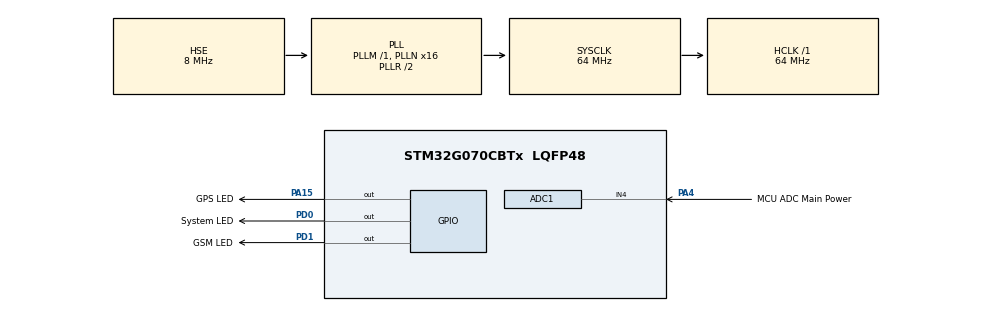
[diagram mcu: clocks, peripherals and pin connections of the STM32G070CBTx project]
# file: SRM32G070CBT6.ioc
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ADC1.Channel-0\#ChannelRegularConversion=ADC_CHANNEL_4
ADC1.ContinuousConvMode=DISABLE
ADC1.NbrOfConversionFlag=1
ADC1.Rank-0\#ChannelRegularConversion=1
ADC1.SamplingTime-0\#ChannelRegularConversion=ADC_SAMPLINGTIME_COMMON_1
ADC1.SamplingTimeCommon1=ADC_SAMPLETIME_3CYCLES_5
ADC1.SamplingTimeCommon2=ADC_SAMPLETIME_3CYCLES_5
ADC1.SelectedChannel=ADC_CHANNEL_4
ADC1.master=1
Mcu.Family=STM32G0
Mcu.Name=STM32G070CBTx
Mcu.Package=LQFP48
PA13.Mode=Serial_Wire
PA13.Signal=SYS_SWDIO
PA14-BOOT0.Mode=Serial_Wire
PA14-BOOT0.Signal=SYS_SWCLK
PA15.GPIO_Label=GPS LED
PA15.Signal=GPIO_Output
PA4.GPIO_Label=MCU ADC Main Power
PA4.Mode=IN4
PA4.Signal=ADC1_IN4
PD0.GPIO_Label=System LED
PD0.Signal=GPIO_Output
PD1.GPIO_Label=GSM LED
PD1.Signal=GPIO_Output
PF0-OSC_IN\ (PF0).Mode=HSE-External-Oscillator
PF0-OSC_IN\ (PF0).Signal=RCC_OSC_IN
PF1-OSC_OUT\ (PF1).Mode=HSE-External-Oscillator
PF1-OSC_OUT\ (PF1).Signal=RCC_OSC_OUT
ProjectManager.HeapSize=0x200
ProjectManager.StackSize=0x400
ProjectManager.TargetToolchain=MDK-ARM V5.32
RCC.ADCFreq_Value=64000000
RCC.AHBFreq_Value=64000000
RCC.CortexFreq_Value=64000000
RCC.EXTERNAL_CLOCK_VALUE=48000
RCC.HCLKFreq_Value=64000000
RCC.HSI_VALUE=16000000
RCC.LSE_VALUE=32768
RCC.PLLN=16
RCC.PLLSourceVirtual=RCC_PLLSOURCE_HSE
RCC.SYSCLKFreq_VALUE=64000000
RCC.SYSCLKSource=RCC_SYSCLKSOURCE_PLLCLK
RCC.VCOOutputFreq_Value=128000000
board=custom

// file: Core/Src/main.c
/* USER CODE BEGIN Header */
/**
  ******************************************************************************
  * @file           : main.c
  * @brief          : Main program body
  ******************************************************************************
  * @attention
  *
  * Copyright (c) 2026 STMicroelectronics.
  * All rights reserved.
  *
  * This software is licensed under terms that can be found in the LICENSE file
  * in the root directory of this software component.
  * If no LICENSE file comes with this software, it is provided AS-IS.
  *
  ******************************************************************************
  */
/* USER CODE END Header */
#include "main.h"

ADC_HandleTypeDef hadc1;

void SystemClock_Config(void);
static void MX_GPIO_Init(void);
static void MX_ADC1_Init(void);
/* USER CODE BEGIN PFP */
//Announcement getPowerVoltage Function
float getPowerVoltage(void);
/* USER CODE END PFP */

int main(void)
{

  /* MCU Configuration--------------------------------------------------------*/

  /* Reset of all peripherals, Initializes the Flash interface and the Systick. */
  HAL_Init();

  /* Configure the system clock */
  SystemClock_Config();

  /* Initialize all configured peripherals */
  MX_GPIO_Init();
  MX_ADC1_Init();

  /* Infinite loop */
  while (1)
  {

    /* USER CODE BEGIN 3 */
    float powerVoltage = getPowerVoltage();
      //--Start of PowerFull State---
    if (powerVoltage >= 20.0f)

    {
      HAL_GPIO_WritePin(System_LED_GPIO_Port, System_LED_Pin, GPIO_PIN_SET);
      HAL_GPIO_WritePin(GPS_LED_GPIO_Port, GPS_LED_Pin, GPIO_PIN_SET);
      HAL_GPIO_WritePin(GSM_LED_GPIO_Port, GSM_LED_Pin, GPIO_PIN_SET);
    }
      //--End of PowerFull Start State---
      //--Start of Medium Power State---
    else if ((powerVoltage <= 20.0f) && (powerVoltage >15.0f))

    {
      HAL_GPIO_WritePin(System_LED_GPIO_Port, System_LED_Pin, GPIO_PIN_SET);
      HAL_GPIO_WritePin(GPS_LED_GPIO_Port, GPS_LED_Pin, GPIO_PIN_SET);
      HAL_GPIO_WritePin(GSM_LED_GPIO_Port, GSM_LED_Pin, GPIO_PIN_RESET);
    }
      //--End of Medium Power State---
      //--Start of Low Power State---
    else if ((powerVoltage <= 15.0f) && (powerVoltage >10.0f))

    {
      HAL_GPIO_WritePin(System_LED_GPIO_Port, System_LED_Pin, GPIO_PIN_SET);
      HAL_GPIO_WritePin(GPS_LED_GPIO_Port, GPS_LED_Pin, GPIO_PIN_RESET);
      HAL_GPIO_WritePin(GSM_LED_GPIO_Port, GSM_LED_Pin, GPIO_PIN_RESET);
    }
      //--End of Low Power State---
      //--Start of Very Low Power State---
    else if (powerVoltage <= 10.0f)

    {
      HAL_GPIO_WritePin(GPS_LED_GPIO_Port, GPS_LED_Pin, GPIO_PIN_RESET);
      HAL_GPIO_WritePin(GSM_LED_GPIO_Port, GSM_LED_Pin, GPIO_PIN_RESET);
      HAL_Delay(500);
      HAL_GPIO_TogglePin(System_LED_GPIO_Port, System_LED_Pin);
    }
      //--Start of Very Low Power State---
  }
  /* USER CODE END 3 */
}

void SystemClock_Config(void)
{
  RCC_OscInitTypeDef RCC_OscInitStruct = {0};
  RCC_ClkInitTypeDef RCC_ClkInitStruct = {0};

  /** Configure the main internal regulator output voltage
  */
  HAL_PWREx_ControlVoltageScaling(PWR_REGULATOR_VOLTAGE_SCALE1);

  /** Initializes the RCC Oscillators according to the specified parameters
  * in the RCC_OscInitTypeDef structure.
  */
  RCC_OscInitStruct.OscillatorType = RCC_OSCILLATORTYPE_HSE;
  RCC_OscInitStruct.HSEState = RCC_HSE_ON;
  RCC_OscInitStruct.PLL.PLLState = RCC_PLL_ON;
  RCC_OscInitStruct.PLL.PLLSource = RCC_PLLSOURCE_HSE;
  RCC_OscInitStruct.PLL.PLLM = RCC_PLLM_DIV1;
  RCC_OscInitStruct.PLL.PLLN = 16;
  RCC_OscInitStruct.PLL.PLLP = RCC_PLLP_DIV2;
  RCC_OscInitStruct.PLL.PLLR = RCC_PLLR_DIV2;
  if (HAL_RCC_OscConfig(&RCC_OscInitStruct) != HAL_OK)
  {
    Error_Handler();
  }

  /** Initializes the CPU, AHB and APB buses clocks
  */
  RCC_ClkInitStruct.ClockType = RCC_CLOCKTYPE_HCLK|RCC_CLOCKTYPE_SYSCLK
                              |RCC_CLOCKTYPE_PCLK1;
  RCC_ClkInitStruct.SYSCLKSource = RCC_SYSCLKSOURCE_PLLCLK;
  RCC_ClkInitStruct.AHBCLKDivider = RCC_SYSCLK_DIV1;
  RCC_ClkInitStruct.APB1CLKDivider = RCC_HCLK_DIV1;

  if (HAL_RCC_ClockConfig(&RCC_ClkInitStruct, FLASH_LATENCY_2) != HAL_OK)
  {
    Error_Handler();
  }
}

static void MX_ADC1_Init(void)
{

  ADC_ChannelConfTypeDef sConfig = {0};

  /** Configure the global features of the ADC (Clock, Resolution, Data Alignment and number of conversion)
  */
  hadc1.Instance = ADC1;
  hadc1.Init.ClockPrescaler = ADC_CLOCK_SYNC_PCLK_DIV2;
  hadc1.Init.Resolution = ADC_RESOLUTION_12B;
  hadc1.Init.DataAlign = ADC_DATAALIGN_RIGHT;
  hadc1.Init.ScanConvMode = ADC_SCAN_DISABLE;
  hadc1.Init.EOCSelection = ADC_EOC_SINGLE_CONV;
  hadc1.Init.LowPowerAutoWait = DISABLE;
  hadc1.Init.LowPowerAutoPowerOff = DISABLE;
  hadc1.Init.ContinuousConvMode = DISABLE;
  hadc1.Init.NbrOfConversion = 1;
  hadc1.Init.DiscontinuousConvMode = DISABLE;
  hadc1.Init.ExternalTrigConv = ADC_SOFTWARE_START;
  hadc1.Init.ExternalTrigConvEdge = ADC_EXTERNALTRIGCONVEDGE_NONE;
  hadc1.Init.DMAContinuousRequests = DISABLE;
  hadc1.Init.Overrun = ADC_OVR_DATA_PRESERVED;
  hadc1.Init.SamplingTimeCommon1 = ADC_SAMPLETIME_3CYCLES_5;
  hadc1.Init.SamplingTimeCommon2 = ADC_SAMPLETIME_3CYCLES_5;
  hadc1.Init.OversamplingMode = DISABLE;
  hadc1.Init.TriggerFrequencyMode = ADC_TRIGGER_FREQ_HIGH;
  if (HAL_ADC_Init(&hadc1) != HAL_OK)
  {
    Error_Handler();
  }

  /** Configure Regular Channel
  */
  sConfig.Channel = ADC_CHANNEL_4;
  sConfig.Rank = ADC_REGULAR_RANK_1;
  sConfig.SamplingTime = ADC_SAMPLINGTIME_COMMON_1;
  if (HAL_ADC_ConfigChannel(&hadc1, &sConfig) != HAL_OK)
  {
    Error_Handler();
  }

}

static void MX_GPIO_Init(void)
{
  GPIO_InitTypeDef GPIO_InitStruct = {0};

  /* GPIO Ports Clock Enable */
  __HAL_RCC_GPIOF_CLK_ENABLE();
  __HAL_RCC_GPIOA_CLK_ENABLE();
  __HAL_RCC_GPIOD_CLK_ENABLE();

  /*Configure GPIO pin Output Level */
  HAL_GPIO_WritePin(GPS_LED_GPIO_Port, GPS_LED_Pin, GPIO_PIN_RESET);

  /*Configure GPIO pin Output Level */
  HAL_GPIO_WritePin(GPIOD, System_LED_Pin|GSM_LED_Pin, GPIO_PIN_RESET);

  /*Configure GPIO pin : GPS_LED_Pin */
  GPIO_InitStruct.Pin = GPS_LED_Pin;
  GPIO_InitStruct.Mode = GPIO_MODE_OUTPUT_PP;
  GPIO_InitStruct.Pull = GPIO_NOPULL;
  GPIO_InitStruct.Speed = GPIO_SPEED_FREQ_LOW;
  HAL_GPIO_Init(GPS_LED_GPIO_Port, &GPIO_InitStruct);

  /*Configure GPIO pins : System_LED_Pin GSM_LED_Pin */
  GPIO_InitStruct.Pin = System_LED_Pin|GSM_LED_Pin;
  GPIO_InitStruct.Mode = GPIO_MODE_OUTPUT_PP;
  GPIO_InitStruct.Pull = GPIO_NOPULL;
  GPIO_InitStruct.Speed = GPIO_SPEED_FREQ_LOW;
  HAL_GPIO_Init(GPIOD, &GPIO_InitStruct);

}

/* USER CODE BEGIN 4 */
  //Start Function Read Voltage ON PIN PA4 & Calculator Real Power Voltage
float getPowerVoltage(void)

  {

    HAL_ADC_Start(&hadc1);
    HAL_ADC_PollForConversion(&hadc1, 10);
    uint16_t adc_val = HAL_ADC_GetValue(&hadc1);
    HAL_ADC_Stop(&hadc1);
    float pin_voltage = (adc_val * 3.3f) / 4095.0f;
    float real_voltage = pin_voltage * 10.0f;

    return real_voltage;

  }
  //End of getPowerVoltage Function
/* USER CODE END 4 */

void Error_Handler(void)
{
  __disable_irq();
  while (1)
  {
  }
}
